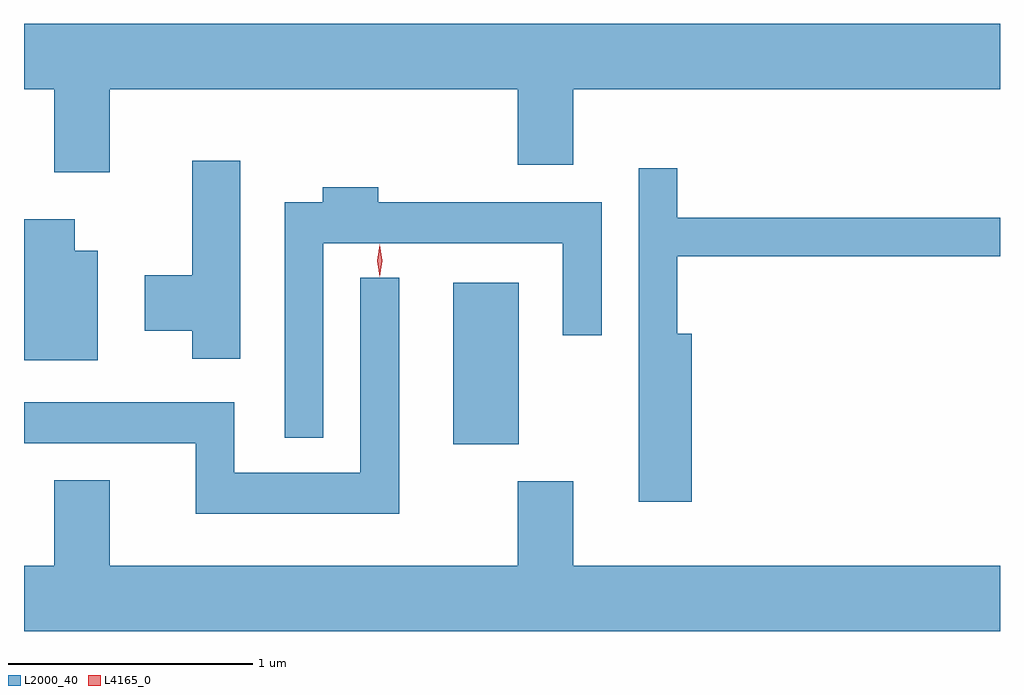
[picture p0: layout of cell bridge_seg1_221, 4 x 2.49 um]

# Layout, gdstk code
import gdstk
lib = gdstk.Library(unit=1e-6, precision=1e-09)
def R(c, l, rs):  # rectangles x0, y0, x1, y1
    for r in rs: c.add(gdstk.rectangle(r[:2], r[2:], *l))
def P(c, l, *ps):  # polygons
    for p in ps: c.add(gdstk.Polygon(p, *l))
L2000_40 = (2000, 40)
L4165_0 = (4165, 0)

bridge_seg1_221 = lib.new_cell('bridge_seg1_221')
R(bridge_seg1_221, L2000_40, [(816.506,884.801,816.774,885.464)])
P(bridge_seg1_221, L2000_40, [(815.099,886.256),(816.771,886.256),(816.771,885.946),(816.999,885.946),(816.999,886.256),(818.747,886.256),(818.747,886.524),(814.747,886.524),(814.747,886.256),(814.871,886.256),(814.871,885.916),(815.099,885.916)],
  [(815.634,885.964),(815.436,885.964),(815.436,885.494),(815.241,885.494),(815.241,885.266),(815.436,885.266),(815.436,885.151),(815.634,885.151)],
  [(817.484,885.254),(817.424,885.254),(817.424,885.571),(818.747,885.571),(818.747,885.729),(817.424,885.729),(817.424,885.933),(817.266,885.933),(817.266,884.566),(817.484,884.566)],
  [(815.974,885.626),(816.956,885.626),(816.956,885.248),(817.114,885.248),(817.114,885.794),(816.199,885.794),(816.199,885.854),(815.971,885.854),(815.971,885.794),(815.816,885.794),(815.816,884.828),(815.974,884.828)],
  [(815.049,885.594),(814.954,885.594),(814.954,885.724),(814.747,885.724),(814.747,885.146),(815.049,885.146)],
  [(816.284,885.483),(816.126,885.483),(816.126,884.684),(815.609,884.684),(815.609,884.974),(814.747,884.974),(814.747,884.806),(815.451,884.806),(815.451,884.516),(816.284,884.516)],
  [(818.747,884.304),(816.999,884.304),(816.999,884.649),(816.771,884.649),(816.771,884.304),(815.099,884.304),(815.099,884.654),(814.871,884.654),(814.871,884.304),(814.747,884.304),(814.747,884.036),(818.747,884.036)])
P(bridge_seg1_221, L4165_0, [(816.205,885.487),(816.204,885.488),(816.195,885.554),(816.204,885.62),(816.205,885.621),(816.205,885.62),(816.215,885.554),(816.205,885.488)])

lib.write_gds('bridge_seg1_221.gds')
